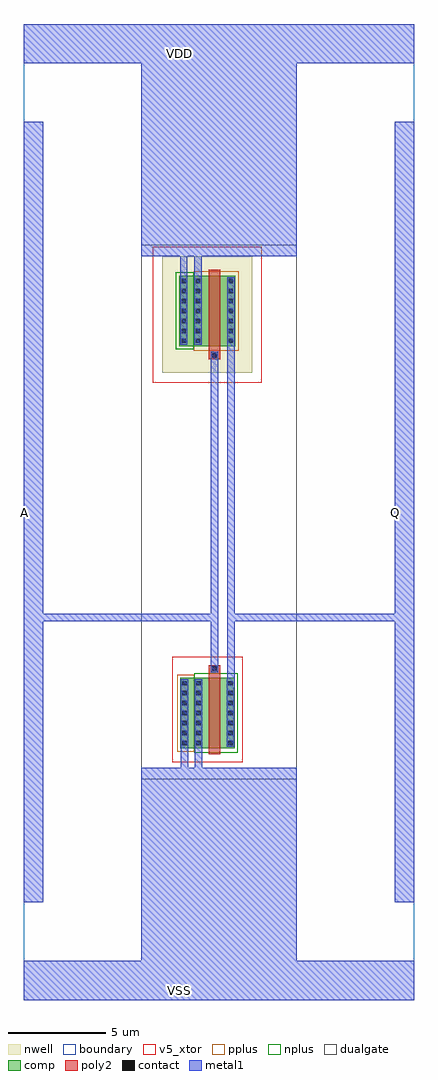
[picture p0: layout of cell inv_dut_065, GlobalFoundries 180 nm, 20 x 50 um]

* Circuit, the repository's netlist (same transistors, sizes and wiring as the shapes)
* inv_dut_065: pfet_05v0 W=3.60u L=0.60u / nfet_05v0 W=3.60u L=0.60u
.SUBCKT inv_dut_065 A Q VDD VSS
MMP Q A VDD VDD pfet_05v0 W=3.60u L=0.60u
MMN Q A VSS VSS nfet_05v0 W=3.60u L=0.60u
.ENDS

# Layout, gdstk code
import gdstk
lib = gdstk.Library(unit=1e-6, precision=1e-09)
def R(c, l, rs):  # rectangles x0, y0, x1, y1
    for r in rs: c.add(gdstk.rectangle(r[:2], r[2:], *l))
def A(c, l, x, y, w, h, nx, ny, dx, dy):  # array of equal rectangles
    R(c, l, [(x+i*dx, y+j*dy, x+i*dx+w, y+j*dy+h) for i in range(nx) for j in range(ny)])
boundary = (0, 0)
nwell = (21, 0)
comp = (22, 0)
poly2 = (30, 0)
pplus = (31, 0)
nplus = (32, 0)
contact = (33, 0)
metal1 = (34, 0)
dualgate = (55, 0)
v5_xtor = (112, 1)

inv_dut_065 = lib.new_cell('inv_dut_065')
R(inv_dut_065, boundary, [(-10,-25,10,25)])
R(inv_dut_065, nwell, [(-2.895,7.13,1.695,13.09)])
R(inv_dut_065, comp, [(-1.975,-12.1,0.795,-8.5), (-2.035,8.5,0.835,12.1)])
R(inv_dut_065, poly2, [(-0.535,-12.4,0.065,-7.84), (-0.535,7.82,0.065,12.4)])
R(inv_dut_065, pplus, [(-2.145,-12.27,-1.265,-8.33), (-1.305,8.26,1.005,12.34)])
R(inv_dut_065, nplus, [(-1.265,-12.34,0.965,-8.26), (-2.205,8.33,-1.305,12.27)])
A(inv_dut_065, contact, -1.875, -11.94, 0.22, 0.22, 1, 7, 0, 0.51)
A(inv_dut_065, contact, -1.165, -11.94, 0.22, 0.22, 1, 7, 0, 0.51)
A(inv_dut_065, contact, 0.475, -11.94, 0.22, 0.22, 1, 7, 0, 0.51)
A(inv_dut_065, contact, -1.915, 8.66, 0.22, 0.22, 1, 7, 0, 0.51)
A(inv_dut_065, contact, -1.185, 8.66, 0.22, 0.22, 1, 7, 0, 0.51)
A(inv_dut_065, contact, 0.495, 8.66, 0.22, 0.22, 1, 7, 0, 0.51)
R(inv_dut_065, contact, [(-0.345,-8.13,-0.125,-7.91), (-0.345,7.9,-0.125,8.12)])
R(inv_dut_065, metal1, [(-10,-25,10,-23), (-3.995,-23,3.995,-13.4), (-10,-20,-9,20), (9,-20,10,20), (-3.995,-13.7,3.995,-13.1), (-1.955,-13.7,-1.575,-8.58), (-1.245,-13.7,-0.865,-8.58), (-1.955,-12.02,-1.575,-8.58), (-1.245,-12.02,-0.865,-8.58), (0.395,-12.02,0.775,-8.58), (0.395,-8.96,0.795,-8.58), (0.415,-8.96,0.795,8.96), (-0.425,-8.21,-0.045,8.2), (-0.425,-8.21,-0.045,-7.83), (-9,-5.6,-3.695,-5.2), (-3.995,-5.6,-0.045,-5.2), (0.415,-5.6,3.995,-5.2), (3.695,-5.6,9,-5.2), (-0.425,7.82,-0.045,8.2), (-1.995,8.58,-1.615,13.7), (-1.995,8.58,-1.615,12.02), (-1.265,8.58,-0.885,13.7), (-1.265,8.58,-0.885,12.02), (0.415,8.58,0.795,8.96), (0.415,8.58,0.795,12.02), (-3.995,13.1,3.995,13.7), (-3.995,13.4,3.995,23), (-10,23,10,25)])
R(inv_dut_065, dualgate, [(-3.995,-13.7,3.995,13.7), (-2.395,-12.81,1.215,-7.42), (-3.395,6.63,2.195,13.59)])
R(inv_dut_065, v5_xtor, [(-2.395,-12.81,1.215,-7.42), (-3.395,6.63,2.195,13.59)])
inv_dut_065.add(gdstk.Label('VDD', (-2,23.5), layer=34, texttype=10))
inv_dut_065.add(gdstk.Label('VSS', (-2,-24.5), layer=34, texttype=10))
inv_dut_065.add(gdstk.Label('A', (-9.97,0), layer=34, texttype=10))
inv_dut_065.add(gdstk.Label('Q', (9.03,0), layer=34, texttype=10))

lib.write_gds('inv_dut_065.gds')
